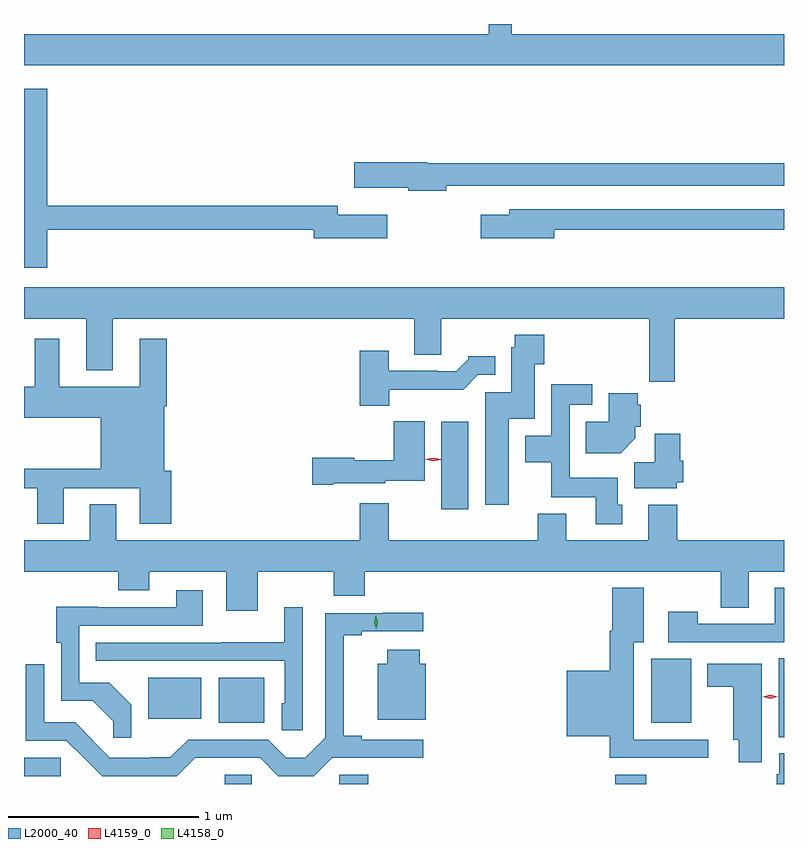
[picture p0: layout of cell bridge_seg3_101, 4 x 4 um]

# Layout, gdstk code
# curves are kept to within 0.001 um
import gdstk
lib = gdstk.Library(unit=1e-6, precision=1e-09)
def R(c, l, rs):  # rectangles x0, y0, x1, y1
    for r in rs: c.add(gdstk.rectangle(r[:2], r[2:], *l))
def P(c, l, *ps):  # polygons
    for p in ps: c.add(gdstk.Polygon(p, *l))
L2000_40 = (2000, 40)
L4158_0 = (4158, 0)
L4159_0 = (4159, 0)

bridge_seg3_101 = lib.new_cell('bridge_seg3_101')
R(bridge_seg3_101, L2000_40, [(568.028,727.77,568.17,727.818), (568.632,727.77,568.784,727.818), (570.083,727.77,570.248,727.819), (566.972,727.812,567.165,727.908), (570.944,728.017,570.972,728.432), (567.998,728.093,568.237,728.329), (570.272,728.093,570.484,728.428), (567.626,728.114,567.904,728.329), (569.168,729.216,569.311,729.676)])
P(bridge_seg3_101, L2000_40, [(570.972,731.716),(569.539,731.716),(569.539,731.77),(569.418,731.77),(569.418,731.716),(566.972,731.716),(566.972,731.552),(570.972,731.552)],
  [(567.095,730.686),(568.496,730.686),(568.496,730.643),(568.885,730.643),(568.885,730.765),(568.624,730.765),(568.624,730.814),(567.095,730.814),(567.095,731.428),(566.972,731.428),(566.972,730.488),(567.095,730.488)],
  [(569.194,730.919),(569.388,730.919),(569.388,730.92),(570.972,730.92),(570.972,731.036),(569.094,731.036),(569.094,731.042),(568.71,731.042),(568.71,730.907),(568.994,730.907),(568.994,730.892),(569.194,730.892)],
  [(569.764,730.686),(570.972,730.686),(570.972,730.794),(569.525,730.794),(569.525,730.765),(569.376,730.765),(569.376,730.643),(569.764,730.643)],
  [(570.398,730.22),(570.972,730.22),(570.972,730.384),(566.972,730.384),(566.972,730.22),(567.299,730.22),(567.299,729.947),(567.439,729.947),(567.439,730.22),(569.027,730.22),(569.027,730.03),(569.167,730.03),(569.167,730.22),(570.262,730.22),(570.262,729.888),(570.398,729.888)],
  [(569.524,729.692),(569.659,729.692),(569.659,729.979),(569.711,729.979),(569.711,730.135),(569.554,730.135),(569.554,730.068),(569.537,730.068),(569.537,729.831),(569.399,729.831),(569.399,729.24),(569.524,729.24)],
  [(567.181,729.327),(567.581,729.327),(567.581,729.141),(567.746,729.141),(567.746,729.42),(567.709,729.42),(567.709,729.758),(567.722,729.758),(567.722,730.114),(567.581,730.114),(567.581,729.862),(567.157,729.862),(567.157,730.114),(567.029,730.114),(567.029,729.862),(566.972,729.862),(566.972,729.698),(567.377,729.698),(567.377,729.428),(566.972,729.428),(566.972,729.327),(567.041,729.327),(567.041,729.141),(567.181,729.141)],
  [(568.894,729.846),(569.283,729.846),(569.361,729.924),(569.452,729.924),(569.452,730.021),(569.31,730.021),(569.31,730.006),(569.246,729.942),(569.147,729.942),(569.147,729.945),(568.891,729.945),(568.891,730.051),(568.739,730.051),(568.739,729.761),(568.894,729.761)],
  [(570.121,729.24),(570.097,729.24),(570.097,729.382),(569.844,729.382),(569.844,729.765),(569.962,729.765),(569.962,729.874),(569.748,729.874),(569.748,729.604),(569.609,729.604),(569.609,729.464),(569.746,729.464),(569.746,729.278),(569.981,729.278),(569.981,729.138),(570.121,729.138)],
  [(570.19,729.59),(570.19,729.651),(570.219,729.651),(570.219,729.765),(570.203,729.765),(570.203,729.826),(570.05,729.826),(570.05,729.676),(569.929,729.676),(569.929,729.512),(570.112,729.512)],
  [(568.6,729.353),(568.872,729.353),(568.872,729.365),(569.08,729.365),(569.08,729.679),(568.918,729.679),(568.918,729.475),(568.71,729.475),(568.71,729.488),(568.488,729.488),(568.488,729.346),(568.6,729.346)],
  [(570.408,729.357),(570.443,729.357),(570.443,729.471),(570.425,729.471),(570.425,729.613),(570.291,729.613),(570.291,729.464),(570.185,729.464),(570.185,729.326),(570.408,729.326)],
  [(568.201,728.888),(568.601,728.888),(568.601,728.76),(568.765,728.76),(568.765,728.888),(570.64,728.888),(570.64,728.698),(570.787,728.698),(570.787,728.888),(570.972,728.888),(570.972,729.052),(570.41,729.052),(570.41,729.241),(570.257,729.241),(570.257,729.052),(569.827,729.052),(569.827,729.193),(569.675,729.193),(569.675,729.052),(568.891,729.052),(568.891,729.247),(568.739,729.247),(568.739,729.052),(567.457,729.052),(567.457,729.242),(567.317,729.242),(567.317,729.052),(566.972,729.052),(566.972,728.888),(567.467,728.888),(567.467,728.789),(567.631,728.789),(567.631,728.888),(568.037,728.888),(568.037,728.682),(568.201,728.682)],
  [(570.972,728.803),(570.923,728.803),(570.923,728.613),(570.519,728.613),(570.519,728.677),(570.363,728.677),(570.363,728.517),(570.972,728.517)],
  [(570.574,728.004),(570.181,728.004),(570.181,728.516),(570.235,728.516),(570.235,728.803),(570.068,728.803),(570.068,728.576),(570.056,728.576),(570.056,728.365),(569.828,728.365),(569.828,728.021),(570.056,728.021),(570.056,727.907),(570.574,727.907)],
  [(567.537,728.188),(567.421,728.304),(567.264,728.304),(567.264,728.604),(567.913,728.604),(567.913,728.791),(567.773,728.791),(567.773,728.7),(567.361,728.7),(567.361,728.702),(567.143,728.702),(567.143,728.514),(567.168,728.514),(567.168,728.208),(567.334,728.208),(567.442,728.1),(567.442,728.013),(567.537,728.013)],
  [(568.44,728.701),(568.343,728.701),(568.343,728.515),(568.009,728.515),(568.009,728.514),(567.349,728.514),(567.349,728.418),(568.344,728.418),(568.344,728.196),(568.328,728.196),(568.328,728.053),(568.44,728.053)],
  [(567.872,727.907),(568.215,727.908),(568.311,727.812),(568.498,727.812),(568.594,727.908),(569.074,727.907),(569.074,728.004),(568.75,728.004),(568.75,728.024),(568.655,728.024),(568.655,728.554),(568.75,728.554),(568.75,728.574),(569.074,728.574),(569.074,728.672),(568.861,728.672),(568.861,728.67),(568.557,728.67),(568.557,728.013),(568.453,727.909),(568.352,727.909),(568.257,728.004),(567.837,728.004),(567.743,727.91),(567.638,727.91),(567.638,727.908),(567.423,727.908),(567.333,727.998),(567.335,728),(567.241,728.094),(567.078,728.094),(567.078,728.401),(566.982,728.401),(566.982,727.998),(567.195,727.998),(567.383,727.812),(567.777,727.812)],
  [(569.086,728.404),(569.054,728.404),(569.054,728.476),(568.883,728.476),(568.883,728.404),(568.835,728.404),(568.835,728.108),(569.086,728.108)],
  [(570.856,728.404),(570.569,728.404),(570.569,728.282),(570.704,728.282),(570.704,728.003),(570.734,728.003),(570.734,727.884),(570.856,727.884)],
  [(570.972,727.932),(570.947,727.932),(570.947,727.821),(570.935,727.821),(570.935,727.77),(570.972,727.77)])
P(bridge_seg3_101, L4158_0, [(568.825,728.586),(568.815,728.622),(568.824,728.658),(568.824,728.658),(568.824,728.658),(568.835,728.622),(568.826,728.586),(568.826,728.586)])
P(bridge_seg3_101, L4159_0, [(569.124,729.468),(569.084,729.478),(569.083,729.478),(569.084,729.478),(569.125,729.488),(569.166,729.478),(569.166,729.477),(569.166,729.477)],
  [(570.899,728.22),(570.86,728.23),(570.859,728.23),(570.86,728.23),(570.899,728.24),(570.938,728.23),(570.939,728.23),(570.938,728.23)])

lib.write_gds('bridge_seg3_101.gds')
